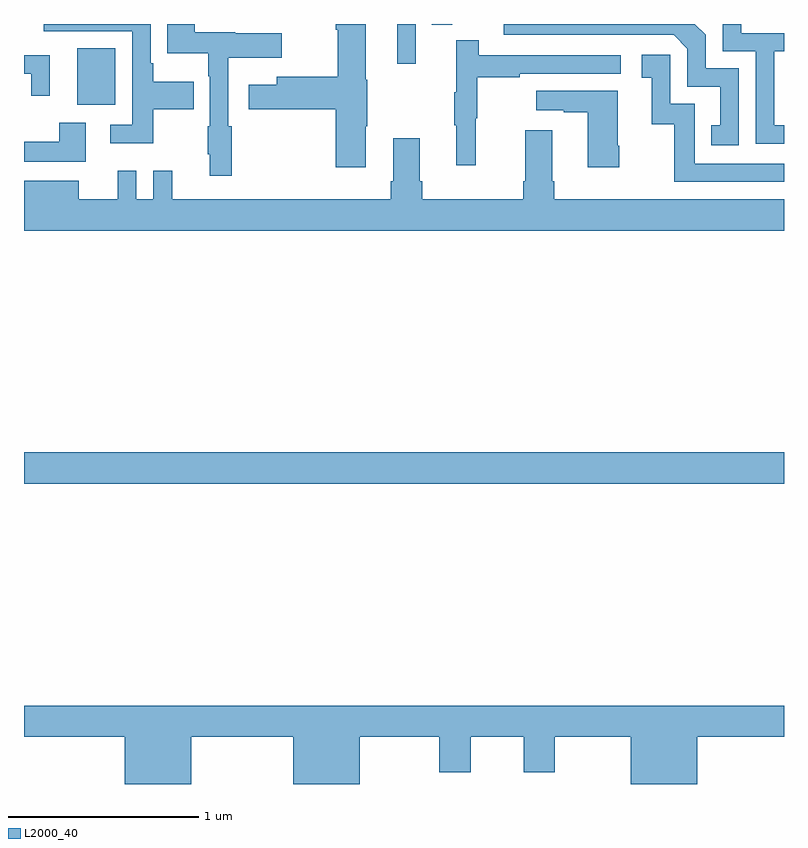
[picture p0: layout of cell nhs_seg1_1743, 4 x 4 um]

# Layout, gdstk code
import gdstk
lib = gdstk.Library(unit=1e-6, precision=1e-09)
def R(c, l, rs):  # rectangles x0, y0, x1, y1
    for r in rs: c.add(gdstk.rectangle(r[:2], r[2:], *l))
def P(c, l, *ps):  # polygons
    for p in ps: c.add(gdstk.Polygon(p, *l))
L2000_40 = (2000, 40)

nhs_seg1_1743 = lib.new_cell('nhs_seg1_1743')
R(nhs_seg1_1743, L2000_40, [(207,503.78,211,503.944), (207.281,505.775,207.481,506.071), (208.964,505.989,209.061,506.199), (209.146,506.194,209.254,506.199)])
P(nhs_seg1_1743, L2000_40, [(210.762,505.965),(210.588,505.965),(210.588,506.142),(210.531,506.199),(209.526,506.199),(209.526,506.142),(210.42,506.142),(210.492,506.07),(210.492,505.869),(210.665,505.869),(210.665,505.665),(210.616,505.665),(210.616,505.56),(210.762,505.56)],
  [(211,505.666),(210.948,505.666),(210.948,506.055),(211,506.055),(211,506.151),(210.775,506.151),(210.775,506.199),(210.678,506.199),(210.678,506.055),(210.852,506.055),(210.852,505.569),(211,505.569)],
  [(208.798,505.661),(208.806,505.661),(208.806,505.905),(208.798,505.905),(208.798,506.199),(208.64,506.199),(208.64,506.168),(208.652,506.168),(208.652,505.922),(208.331,505.922),(208.331,505.879),(208.182,505.879),(208.182,505.75),(208.64,505.75),(208.64,505.446),(208.798,505.446)],
  [(208.094,505.661),(208.074,505.661),(208.074,506.021),(208.357,506.021),(208.357,506.151),(208.113,506.151),(208.113,506.155),(207.899,506.155),(207.899,506.199),(207.755,506.199),(207.755,506.045),(207.969,506.045),(207.969,505.925),(207.978,505.925),(207.978,505.661),(207.966,505.661),(207.966,505.513),(207.977,505.513),(207.977,505.401),(208.094,505.401)],
  [(207.679,505.75),(207.893,505.75),(207.893,505.896),(207.679,505.896),(207.679,505.993),(207.666,505.993),(207.666,506.199),(207.105,506.199),(207.105,506.16),(207.57,506.16),(207.57,505.668),(207.453,505.668),(207.453,505.571),(207.679,505.571)],
  [(209.378,505.704),(209.386,505.704),(209.386,505.918),(209.609,505.918),(209.609,505.938),(210.142,505.938),(210.142,506.034),(209.393,506.034),(209.393,506.113),(209.276,506.113),(209.276,505.841),(209.265,505.841),(209.265,505.667),(209.276,505.667),(209.276,505.455),(209.378,505.455)],
  [(211,505.464),(210.531,505.464),(210.531,505.779),(210.402,505.779),(210.402,506.038),(210.252,506.038),(210.252,505.917),(210.305,505.917),(210.305,505.671),(210.423,505.671),(210.423,505.368),(211,505.368)],
  [(207.136,506.034),(207,506.034),(207,505.938),(207.038,505.938),(207.038,505.821),(207.136,505.821)],
  [(210.132,505.558),(210.124,505.558),(210.124,505.849),(209.697,505.849),(209.697,505.745),(209.84,505.745),(209.84,505.735),(209.966,505.735),(209.966,505.446),(210.132,505.446)],
  [(207.325,505.678),(207.185,505.678),(207.185,505.579),(207,505.579),(207,505.475),(207.325,505.475)],
  [(211,505.276),(209.792,505.276),(209.792,505.372),(209.779,505.372),(209.779,505.639),(209.639,505.639),(209.639,505.372),(209.627,505.372),(209.627,505.276),(209.096,505.276),(209.096,505.372),(209.083,505.372),(209.083,505.597),(208.943,505.597),(208.943,505.372),(208.931,505.372),(208.931,505.276),(207.779,505.276),(207.779,505.426),(207.681,505.426),(207.681,505.276),(207.591,505.276),(207.591,505.426),(207.494,505.426),(207.494,505.276),(207.289,505.276),(207.289,505.375),(207,505.375),(207,505.112),(211,505.112)],
  [(207.88,502.448),(208.418,502.448),(208.418,502.199),(208.768,502.199),(208.768,502.448),(209.186,502.448),(209.186,502.26),(209.35,502.26),(209.35,502.448),(209.63,502.448),(209.63,502.26),(209.794,502.26),(209.794,502.448),(210.194,502.448),(210.194,502.199),(210.544,502.199),(210.544,502.448),(211,502.448),(211,502.612),(207,502.612),(207,502.448),(207.53,502.448),(207.53,502.199),(207.88,502.199)])

lib.write_gds('nhs_seg1_1743.gds')
